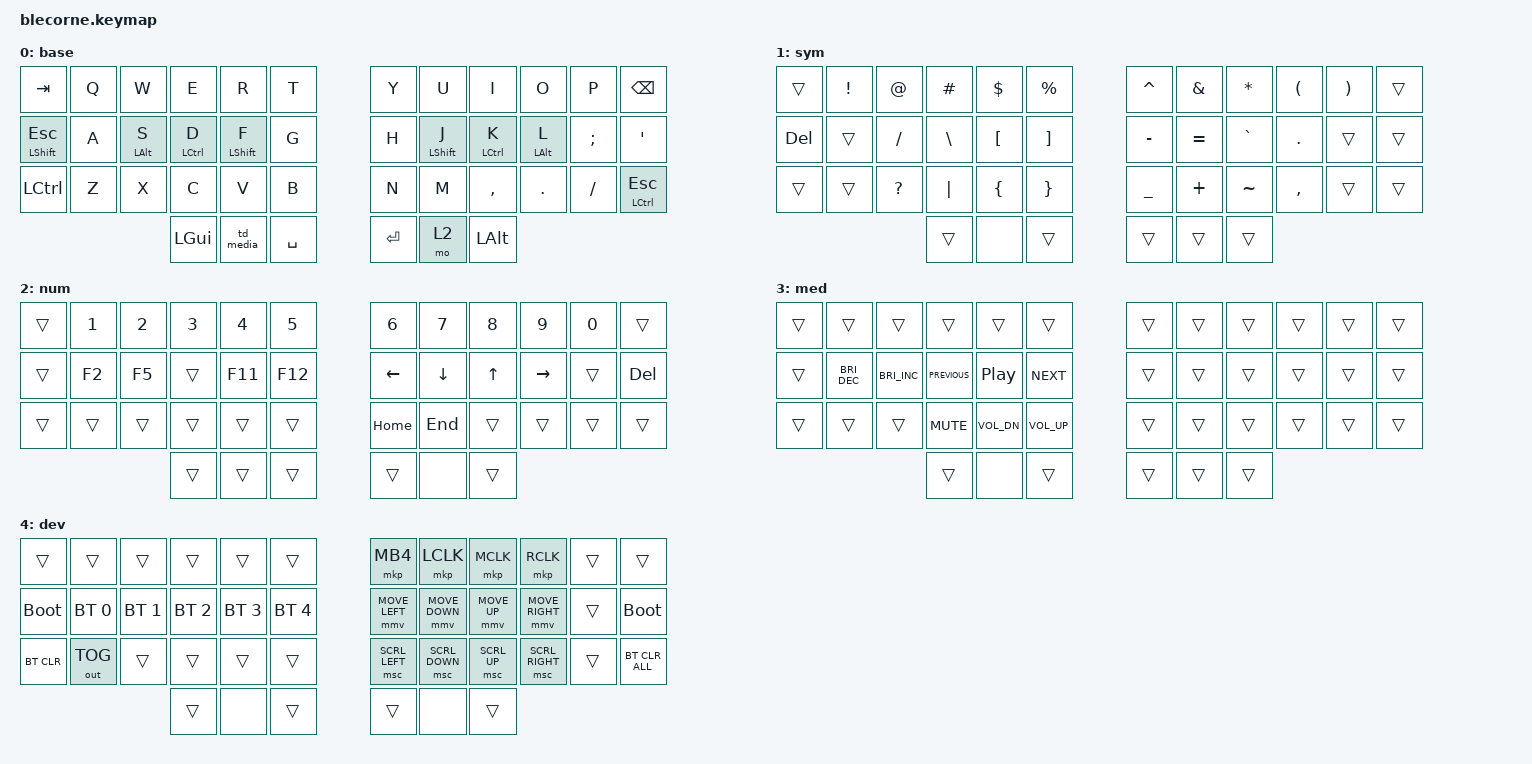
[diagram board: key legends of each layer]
/*
 * Copyright (c) 2020 The ZMK Contributors
 * SPDX-License-Identifier: MIT
 */

#define ZMK_POINTING_DEFAULT_MOVE_VAL 1200  // default: 600
#define ZMK_POINTING_DEFAULT_SCRL_VAL 25    // default: 10

#include <input/processors.dtsi>
#include <behaviors.dtsi>
#include <dt-bindings/zmk/bt.h>
#include <dt-bindings/zmk/keys.h>
#include <dt-bindings/zmk/outputs.h>
#include <dt-bindings/zmk/pointing.h>

&mmv_input_listener { input-processors = <&zip_xy_scaler 2 1>; };

&msc_input_listener { input-processors = <&zip_scroll_scaler 2 1>; };

&msc {
    time-to-max-speed-ms = <100>;
    acceleration-exponent = <1>;
    delay-ms = <0>;
};

&mmv {
    time-to-max-speed-ms = <500>;
    acceleration-exponent = <1>;
    delay-ms = <0>;
    trigger-period-ms = <16>;
};

/ {
    chosen { zmk,physical-layout = &foostan_corne_6col_layout; };
};

/ {
    combos {
        compatible = "zmk,combos";

        tab_combo {
            bindings = <&kp TAB>;
            key-positions = <1 2>;
            layers = <0>;
        };

        home_combo {
            bindings = <&kp HOME>;
            key-positions = <18 19>;
            slow-release;
            layers = <0>;
        };

        end_combo {
            bindings = <&kp END>;
            key-positions = <20 21>;
            slow-release;
            layers = <0>;
        };

        bksp_combo {
            bindings = <&kp BACKSPACE>;
            key-positions = <19 20>;
            slow-release;
            layers = <0>;
        };

        pgdn_combo {
            bindings = <&kp PAGE_DOWN>;
            key-positions = <30 31>;
            slow-release;
            layers = <0>;
        };

        pgup_combo {
            bindings = <&kp PAGE_UP>;
            key-positions = <7 6>;
            slow-release;
            layers = <0>;
        };

        ctrl_w_combo {
            bindings = <&kp LC(W)>;
            key-positions = <3 2>;
            slow-release;
            layers = <0>;
        };

        ctrl_a_combo {
            bindings = <&kp LC(A)>;
            key-positions = <14 15>;
            slow-release;
            layers = <0>;
        };

        enter_combo {
            bindings = <&kp ENTER>;
            key-positions = <17 16>;
            layers = <0>;
            slow-release;
        };

        ctr_tab_combo {
            bindings = <&kp LC(TAB)>;
            key-positions = <1 1 2 3>;
            layers = <0>;
            slow-release;
        };

        alt_tab_combo {
            bindings = <&kp LA(TAB)>;
            key-positions = <2 3 4>;
        };

        del_combo {
            bindings = <&kp DELETE>;
            key-positions = <12 1>;
        };
    };

    behaviors {
        hrm_left: hrm_left {
            compatible = "zmk,behavior-hold-tap";
            label = "HRM_LEFT";
            bindings = <&kp>, <&kp>;

            #binding-cells = <2>;
            tapping-term-ms = <245>;
            require-prior-idle-ms = <125>;
            flavor = "balanced";
            hold-trigger-key-positions = <6 7 8 9 10 11 18 19 20 21 22 23 30 31 32 33 34 35 39 40 41>;
            hold-trigger-on-release;
            quick-tap-ms = <160>;
        };

        hrm_right: hrm_right {
            compatible = "zmk,behavior-hold-tap";
            label = "HRM_RIGHT";
            bindings = <&kp>, <&kp>;

            #binding-cells = <2>;
            tapping-term-ms = <245>;
            require-prior-idle-ms = <125>;
            flavor = "balanced";
            hold-trigger-on-release;
            hold-trigger-key-positions = <0 1 2 3 4 5 12 13 14 15 16 17 24 25 26 27 28 29 36 37 38>;
            quick-tap-ms = <160>;
        };

        ht_mod: ht_mod {
            compatible = "zmk,behavior-hold-tap";
            label = "HT_MOD";
            bindings = <&kp>, <&kp>;

            #binding-cells = <2>;
            tapping-term-ms = <215>;
            require-prior-idle-ms = <100>;
            flavor = "balanced";
        };

        td_media: td_media {
            compatible = "zmk,behavior-tap-dance";
            label = "TD_MEDIA";
            #binding-cells = <0>;
            bindings = <&mo 1>, <&mo 3>;
        };
    };

    keymap {
        compatible = "zmk,keymap";

        base_layer {
            display-name = "base";
            bindings = <
&kp TAB                &kp Q  &kp W               &kp E                     &kp R                   &kp T      &kp Y    &kp U                    &kp I                      &kp O                  &kp P          &kp BACKSPACE
&mt LEFT_SHIFT ESCAPE  &kp A  &ht_mod LEFT_ALT S  &hrm_left LEFT_CONTROL D  &hrm_left LEFT_SHIFT F  &kp G      &kp H    &hrm_right LEFT_SHIFT J  &hrm_right LEFT_CONTROL K  &hrm_right LEFT_ALT L  &kp SEMICOLON  &kp SQT
&kp LEFT_CONTROL       &kp Z  &kp X               &kp C                     &kp V                   &kp B      &kp N    &kp M                    &kp COMMA                  &kp DOT                &kp FSLH       &mt LEFT_CONTROL ESCAPE
                                                  &kp LGUI                  &td_media               &kp SPACE  &kp RET  &mo 2                    &kp LEFT_ALT
            >;
        };

        symb_layer {
            display-name = "sym";
            bindings = <
&trans      &kp EXCLAMATION  &kp AT_SIGN   &kp HASH       &kp DOLLAR        &kp PERCENT        &kp CARET  &kp AMPERSAND  &kp ASTERISK  &kp LEFT_PARENTHESIS  &kp RIGHT_PARENTHESIS  &trans
&kp DELETE  &trans           &kp SLASH     &kp BACKSLASH  &kp LEFT_BRACKET  &kp RIGHT_BRACKET  &kp MINUS  &kp EQUAL      &kp GRAVE     &kp PERIOD            &trans                 &trans
&trans      &trans           &kp QUESTION  &kp PIPE       &kp LEFT_BRACE    &kp RIGHT_BRACE    &kp UNDER  &kp PLUS       &kp TILDE     &kp COMMA             &trans                 &trans
                                           &trans         &none             &trans             &trans     &trans         &trans
            >;
        };

        numb_layer {
            display-name = "num";
            bindings = <
&trans  &kp NUMBER_1  &kp NUMBER_2  &kp NUMBER_3  &kp NUMBER_4  &kp N5   &kp NUMBER_6    &kp N7          &kp N8        &kp N9           &kp N0  &trans
&trans  &kp F2        &kp F5        &trans        &kp F11       &kp F12  &kp LEFT_ARROW  &kp DOWN_ARROW  &kp UP_ARROW  &kp RIGHT_ARROW  &trans  &kp DELETE
&trans  &trans        &trans        &trans        &trans        &trans   &kp HOME        &kp END         &trans        &trans           &trans  &trans
                                    &trans        &trans        &trans   &trans          &none           &trans
            >;
        };

        media_layer {
            display-name = "med";
            bindings = <
&trans  &trans                &trans                &trans          &trans            &trans        &trans  &trans  &trans  &trans  &trans  &trans
&trans  &kp C_BRIGHTNESS_DEC  &kp C_BRIGHTNESS_INC  &kp C_PREVIOUS  &kp C_PLAY_PAUSE  &kp C_NEXT    &trans  &trans  &trans  &trans  &trans  &trans
&trans  &trans                &trans                &kp C_MUTE      &kp C_VOL_DN      &kp C_VOL_UP  &trans  &trans  &trans  &trans  &trans  &trans
                                                    &trans          &none             &trans        &trans  &trans  &trans
            >;
        };

        device_layer {
            display-name = "dev";
            bindings = <
&trans       &trans        &trans        &trans        &trans        &trans        &mkp MB4        &mkp LCLK       &mkp MCLK     &mkp RCLK        &trans  &trans
&bootloader  &bt BT_SEL 0  &bt BT_SEL 1  &bt BT_SEL 2  &bt BT_SEL 3  &bt BT_SEL 4  &mmv MOVE_LEFT  &mmv MOVE_DOWN  &mmv MOVE_UP  &mmv MOVE_RIGHT  &trans  &bootloader
&bt BT_CLR   &out OUT_TOG  &trans        &trans        &trans        &trans        &msc SCRL_LEFT  &msc SCRL_DOWN  &msc SCRL_UP  &msc SCRL_RIGHT  &trans  &bt BT_CLR_ALL
                                         &trans        &none         &trans        &trans          &none           &trans
            >;
        };
    };

    conditional_layers {
        compatible = "zmk,conditional-layers";

        device {
            if-layers = <1 2>;
            then-layer = <4>;
        };
    };
};
